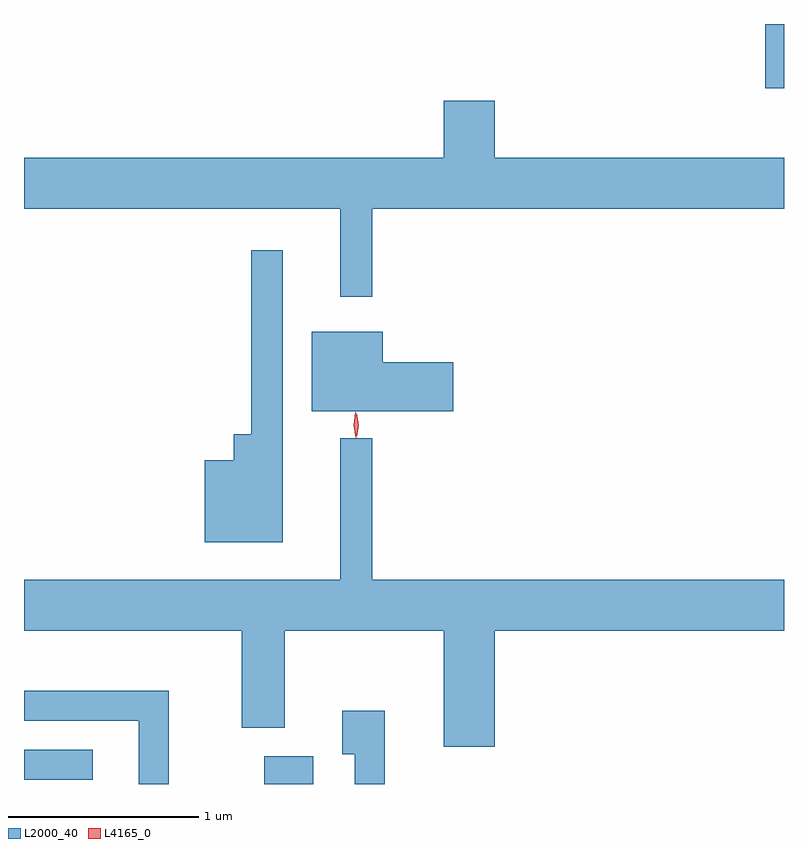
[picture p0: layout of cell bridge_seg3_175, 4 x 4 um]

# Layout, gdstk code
import gdstk
lib = gdstk.Library(unit=1e-6, precision=1e-09)
def R(c, l, rs):  # rectangles x0, y0, x1, y1
    for r in rs: c.add(gdstk.rectangle(r[:2], r[2:], *l))
def P(c, l, *ps):  # polygons
    for p in ps: c.add(gdstk.Polygon(p, *l))
L2000_40 = (2000, 40)
L4165_0 = (4165, 0)

bridge_seg3_175 = lib.new_cell('bridge_seg3_175')
R(bridge_seg3_175, L2000_40, [(853.491,1140.749,853.749,1140.894), (852.226,1140.771,852.588,1140.929), (856.126,1144.411,856.226,1144.749)])
P(bridge_seg3_175, L2000_40, [(854.059,1143.776),(856.226,1143.776),(856.226,1144.044),(854.704,1144.044),(854.704,1144.344),(854.436,1144.344),(854.436,1144.044),(852.226,1144.044),(852.226,1143.776),(853.891,1143.776),(853.891,1143.313),(854.059,1143.313)],
  [(853.589,1143.558),(853.421,1143.558),(853.421,1142.589),(853.331,1142.589),(853.331,1142.454),(853.176,1142.454),(853.176,1142.021),(853.589,1142.021)],
  [(854.484,1142.969),(854.114,1142.969),(854.114,1143.129),(853.741,1143.129),(853.741,1142.711),(854.484,1142.711)],
  [(854.704,1141.556),(856.226,1141.556),(856.226,1141.824),(854.059,1141.824),(854.059,1142.568),(853.891,1142.568),(853.891,1141.824),(852.226,1141.824),(852.226,1141.556),(853.371,1141.556),(853.371,1141.046),(853.599,1141.046),(853.599,1141.556),(854.436,1141.556),(854.436,1140.946),(854.704,1140.946)],
  [(852.989,1141.239),(852.226,1141.239),(852.226,1141.081),(852.831,1141.081),(852.831,1140.749),(852.989,1140.749)],
  [(854.124,1141.134),(853.901,1141.134),(853.901,1140.906),(853.966,1140.906),(853.966,1140.749),(854.124,1140.749)])
P(bridge_seg3_175, L4165_0, [(853.971,1142.57),(853.961,1142.638),(853.97,1142.706),(853.971,1142.706),(853.971,1142.706),(853.981,1142.638),(853.972,1142.57),(853.972,1142.57)],
  [(853.977,1142.573),(853.977,1142.573),(853.967,1142.636),(853.977,1142.699),(853.977,1142.7),(853.978,1142.699),(853.988,1142.636),(853.978,1142.573)])

lib.write_gds('bridge_seg3_175.gds')
